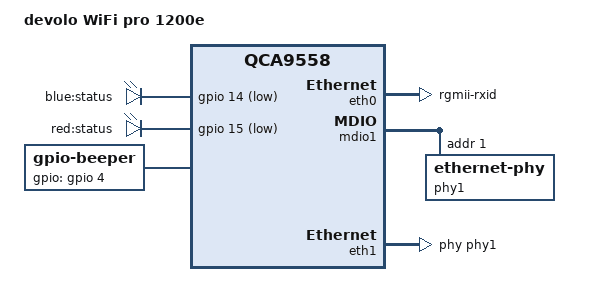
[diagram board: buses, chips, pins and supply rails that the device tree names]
// SPDX-License-Identifier: GPL-2.0-or-later OR MIT

#include "qca9558_devolo_dvl1xxx.dtsi"

/ {
	compatible = "devolo,dvl1200e", "qca,qca9558";
	model = "devolo WiFi pro 1200e";

	aliases {
		led-boot = &led_status_blue;
		led-failsafe = &led_status_red;
		led-running = &led_status_blue;
		led-upgrade = &led_status_red;
	};

	leds {
		compatible = "gpio-leds";

		led_status_blue: status_blue {
			label = "blue:status";
			gpios = <&gpio 14 GPIO_ACTIVE_LOW>;
			default-state = "on";
		};

		led_status_red: status_red {
			label = "red:status";
			gpios = <&gpio 15 GPIO_ACTIVE_LOW>;
		};
	};

	beeper {
		compatible = "gpio-beeper";
		gpios = <&gpio 4 GPIO_ACTIVE_HIGH>;
	};
};

&eth0 {
	pll-data = <0xae000000 0x80000101 0x80001313>;
	phy-mode = "rgmii-rxid";
};

&gmac_config {
	rxdv-delay = <3>;
	rxd-delay = <3>;
	txen-delay = <0>;
	txd-delay = <0>;
};

&mdio1 {
	status = "okay";

	phy1: ethernet-phy@1 {
		reg = <1>;
		at803x-override-sgmii-link-check;
	};
};

&eth1 {
	status = "okay";

	nvmem-cells = <&macaddr_art_0>;
	nvmem-cell-names = "mac-address";
	mac-address-increment = <1>;

	phy-handle = <&phy1>;
	pll-data = <0x03000101 0x00000101 0x00001313>;

	qca955x-sgmii-fixup;
};
